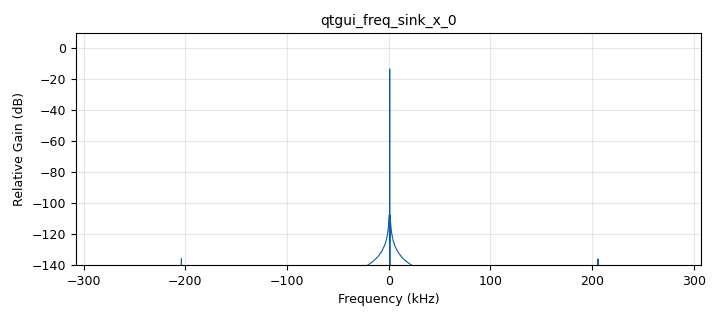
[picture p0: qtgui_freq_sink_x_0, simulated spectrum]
options:
  parameters:
    author: knud
    generate_options: qt_gui
    id: ns_esttc_transmitter
    output_language: python
    title: Not titled yet
  states: {}

blocks:
- name: center_freq
  id: variable
  parameters:
    value: '437875000'
  states: {}
- name: data_rate
  id: variable
  parameters:
    value: '{es_mode == 0: 1200, es_mode==1: 2400, es_mode==2:4800,es_mode==3:9600,es_mode==4:9600}.get(True,19200)'
  states: {}
- name: data_rate_label
  id: variable_qtgui_label
  parameters:
    gui_hint: 0,1,1,1
    label: Data Rate
    type: int
    value: data_rate
  states: {}
- name: es_mode
  id: variable
  parameters:
    comment: |-
      EnduroSat Mode
        = [0,1,2,3,4,5,6,7]

      Choose a value before
      running this flowgraph
    value: '1'
  states: {}
- name: es_mode_label
  id: variable_qtgui_label
  parameters:
    gui_hint: 0,0,1,1
    label: 'EnduroSat UHF II Mode : '
    type: int
    value: es_mode
  states: {}
- name: freq_dev
  id: variable
  parameters:
    value: '{es_mode == 0: 600, es_mode==1: 600, es_mode==2:1200,es_mode==3:2400,es_mode==4:4800,es_mode==5:4800,es_mode==6:9600}.get(True,19200)'
  states: {}
- name: freq_dev_label
  id: variable_qtgui_label
  parameters:
    gui_hint: 0,2,1,1
    label: Freq Dev
    type: int
    value: freq_dev
  states: {}
- name: mod_index
  id: variable
  parameters:
    value: '{es_mode == 0: 1, es_mode==1: 0.5, es_mode==2:0.5,es_mode==3:0.5,es_mode==4:1,es_mode==5:0.5,es_mode==6:1}.get(True,2)'
  states: {}
- name: mod_index_label
  id: variable_qtgui_label
  parameters:
    gui_hint: 0,3,1,1
    label: Mod Index
    type: real
    value: mod_index
  states: {}
- name: samp_rate
  id: variable
  parameters:
    value: data_rate*samples_per_symbol
  states: {}
- name: samples_per_symbol
  id: variable
  parameters:
    value: '256'
  states: {}
- name: sensitivity_label
  id: variable_qtgui_label
  parameters:
    gui_hint: 0,4,1,1
    label: FM Sensitivity
    type: real
    value: sensitivity_tx
  states: {}
- name: sensitivity_tx
  id: variable
  parameters:
    value: 2*np.math.pi*(freq_dev/(data_rate*samples_per_symbol))
  states: {}
- name: tx_gain
  id: variable
  parameters:
    value: '0.9'
  states: {state: disabled}
- name: tx_gain
  id: variable_qtgui_range
  parameters:
    label: Tx Gain
    start: '0'
    step: '1'
    stop: '89'
    value: '50'
  states: {}
- name: analog_sig_source_x_0
  id: analog_sig_source_x
  parameters:
    amp: '1'
    freq: '1000'
    offset: '0'
    phase: '0'
    samp_rate: samp_rate
    type: complex
    waveform: analog.GR_COS_WAVE
  states: {}
- name: blocks_message_strobe_0
  id: blocks_message_strobe
  parameters:
    msg: 'pmt.dict_add( pmt.make_dict(), pmt.to_pmt(''gpio''), pmt.to_pmt({''bank'':''FP0'', ''attr'':''ATR_TX'', ''value'': 1, ''mask'': 1}))'
    period: '10000'
  states: {}
- name: blocks_message_strobe_0_0
  id: blocks_message_strobe
  parameters:
    msg: 'pmt.dict_add( pmt.make_dict(), pmt.to_pmt(''gpio''), pmt.to_pmt({''bank'':''FP0'', ''attr'':''CTRL'', ''value'': 1, ''mask'': 0xFFFF}))'
    period: '7000'
  states: {}
- name: blocks_message_strobe_0_0_0
  id: blocks_message_strobe
  parameters:
    msg: 'pmt.dict_add( pmt.make_dict(), pmt.to_pmt(''gpio''), pmt.to_pmt({''bank'':''FP0'', ''attr'':''DDR'', ''value'': 0x0FFF, ''mask'': 0xFFFF}))'
    period: '8000'
  states: {}
- name: blocks_message_strobe_0_1
  id: blocks_message_strobe
  parameters:
    msg: 'pmt.dict_add( pmt.make_dict(), pmt.to_pmt(''gpio''), pmt.to_pmt({''bank'':''FP0'', ''attr'':''ATR_0X'', ''value'': 0, ''mask'': 1}))'
    period: '8500'
  states: {}
- name: blocks_message_strobe_0_1_0
  id: blocks_message_strobe
  parameters:
    msg: 'pmt.dict_add( pmt.make_dict(), pmt.to_pmt(''gpio''), pmt.to_pmt({''bank'':''FP0'', ''attr'':''ATR_RX'', ''value'': 0, ''mask'': 1}))'
    period: '9000'
  states: {}
- name: blocks_vector_source_x_0
  id: blocks_vector_source_x
  parameters:
    repeat: 'True'
    type: byte
    vector: (0x55,0xaa,0xaa,0xaa,0xaa,0xaa,0xaa,0xaa,0xaa,0xaa,0xaa,0xaa,0xaa,0xaa,0xaa,0xaa,0xaa,0xaa,0xaa,0xaa,0xaa,0xaa,0xaa,0xaa,0xaa,0xaa,0xaa,0xaa)
  states: {state: disabled}
- name: import_0
  id: import
  parameters:
    imports: import math
  states: {}
- name: import_0_0
  id: import
  parameters:
    imports: import numpy as np
  states: {}
- name: note_0_0
  id: note
  parameters:
    note: Calculated variables
  states: {}
- name: qtgui_freq_sink_x_0
  id: qtgui_freq_sink_x
  parameters:
    bw: samp_rate
    ctrlpanel: 'True'
    fc: '0'
    fftsize: '32768'
    type: complex
    wintype: window.WIN_FLATTOP
  states: {}
- name: uhd_usrp_sink_0_0
  id: uhd_usrp_sink
  parameters:
    ant0: TX/RX
    center_freq0: center_freq
    dev_args: '""'
    gain0: tx_gain
    len_tag_name: ''
    samp_rate: samp_rate
    sync: pc_clock
    type: fc32
  states: {}
- name: uhf_byte_modulate_0
  id: uhf_byte_modulate
  parameters:
    FSK_level: '2'
    fm_baud: data_rate
    fm_modulation_index: mod_index
    fm_samples_per_symbol: samples_per_symbol
  states: {state: disabled}

connections:
- [analog_sig_source_x_0, '0', qtgui_freq_sink_x_0, '0']
- [analog_sig_source_x_0, '0', uhd_usrp_sink_0_0, '0']
- [blocks_message_strobe_0, strobe, uhd_usrp_sink_0_0, command]
- [blocks_message_strobe_0_0, strobe, uhd_usrp_sink_0_0, command]
- [blocks_message_strobe_0_0_0, strobe, uhd_usrp_sink_0_0, command]
- [blocks_message_strobe_0_1, strobe, uhd_usrp_sink_0_0, command]
- [blocks_message_strobe_0_1_0, strobe, uhd_usrp_sink_0_0, command]
- [blocks_vector_source_x_0, '0', uhf_byte_modulate_0, '0']
- [uhf_byte_modulate_0, '0', qtgui_freq_sink_x_0, '0']
- [uhf_byte_modulate_0, '0', uhd_usrp_sink_0_0, '0']

metadata:
  file_format: 1
  grc_version: 3.9.7.0
